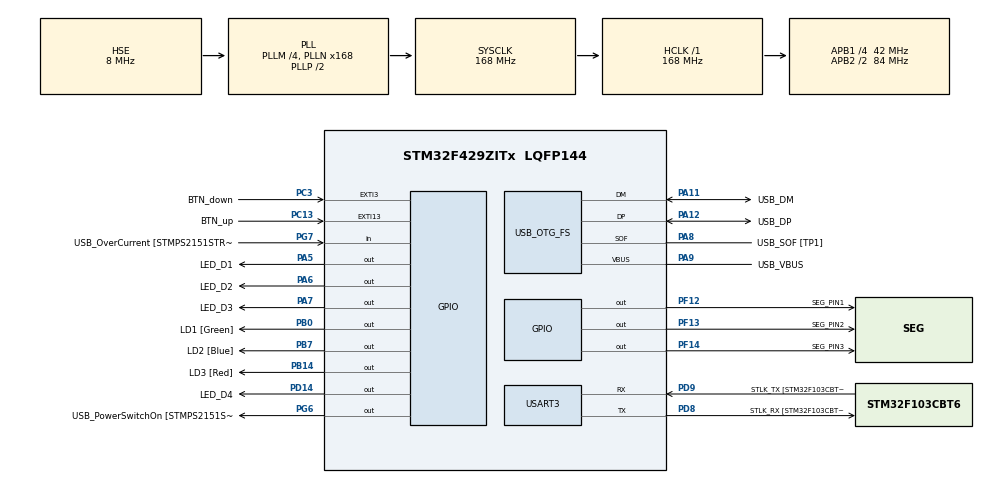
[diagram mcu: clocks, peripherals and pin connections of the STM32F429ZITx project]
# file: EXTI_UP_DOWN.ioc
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Mcu.Family=STM32F4
Mcu.Name=STM32F429ZITx
Mcu.Package=LQFP144
NVIC.EXTI15_10_IRQn=true\:0\:0\:false\:true\:true\:2\:true\:true\:true
NVIC.EXTI3_IRQn=true\:0\:0\:false\:true\:true\:1\:true\:true\:true
NVIC.PriorityGroup=NVIC_PRIORITYGROUP_4
NVIC.USART3_IRQn=true\:0\:0\:false\:true\:true\:3\:true\:true\:true
PA1.GPIO_Label=RMII_REF_CLK [LAN8742A-CZ-TR_REFCLK0]
PA1.Signal=ETH_REF_CLK
PA10.GPIO_Label=USB_ID
PA10.Signal=USB_OTG_FS_ID
PA11.GPIO_Label=USB_DM
PA11.Mode=Device_Only
PA11.Signal=USB_OTG_FS_DM
PA12.GPIO_Label=USB_DP
PA12.Mode=Device_Only
PA12.Signal=USB_OTG_FS_DP
PA13.GPIO_Label=TMS
PA13.Mode=Serial_Wire
PA13.Signal=SYS_JTMS-SWDIO
PA14.GPIO_Label=TCK
PA14.Mode=Serial_Wire
PA14.Signal=SYS_JTCK-SWCLK
PA2.GPIO_Label=RMII_MDIO [LAN8742A-CZ-TR_MDIO]
PA2.Signal=ETH_MDIO
PA5.GPIO_Label=LED_D1
PA5.Signal=GPIO_Output
PA6.GPIO_Label=LED_D2
PA6.Signal=GPIO_Output
PA7.GPIO_Label=LED_D3
PA7.Signal=GPIO_Output
PA8.GPIO_Label=USB_SOF [TP1]
PA8.Mode=Activate_SOF_FS
PA8.Signal=USB_OTG_FS_SOF
PA9.GPIO_Label=USB_VBUS
PA9.Mode=Activate_VBUS
PA9.Signal=USB_OTG_FS_VBUS
PB0.GPIO_Label=LD1 [Green]
PB0.Signal=GPIO_Output
PB13.GPIO_Label=RMII_TXD1 [LAN8742A-CZ-TR_TXD1]
PB13.Signal=ETH_TXD1
PB14.GPIO_Label=LD3 [Red]
PB14.Signal=GPIO_Output
PB7.GPIO_Label=LD2 [Blue]
PB7.Signal=GPIO_Output
PC1.GPIO_Label=RMII_MDC [LAN8742A-CZ-TR_MDC]
PC1.Signal=ETH_MDC
PC13.GPIO_Label=BTN_up
PC13.GPIO_ModeDefaultEXTI=GPIO_MODE_IT_RISING
PC13.GPIO_PuPd=GPIO_NOPULL
PC13.Signal=GPXTI13
PC14/OSC32_IN.Mode=LSE-External-Oscillator
PC14/OSC32_IN.Signal=RCC_OSC32_IN
PC15/OSC32_OUT.Mode=LSE-External-Oscillator
PC15/OSC32_OUT.Signal=RCC_OSC32_OUT
PC3.GPIO_Label=BTN_down
PC3.GPIO_ModeDefaultEXTI=GPIO_MODE_IT_RISING
PC3.GPIO_PuPd=GPIO_PULLUP
PC3.Signal=GPXTI3
PC4.GPIO_Label=RMII_RXD0 [LAN8742A-CZ-TR_RXD0]
PC4.Signal=ETH_RXD0
PC5.GPIO_Label=RMII_RXD1 [LAN8742A-CZ-TR_RXD1]
PC5.Signal=ETH_RXD1
PD14.GPIO_Label=LED_D4
PD14.Signal=GPIO_Output
PD8.GPIO_Label=STLK_RX [STM32F103CBT6_PA3]
PD8.Mode=Asynchronous
PD8.Signal=USART3_TX
PD9.GPIO_Label=STLK_TX [STM32F103CBT6_PA2]
PD9.Mode=Asynchronous
PD9.Signal=USART3_RX
PF12.GPIO_Label=SEG_PIN1
PF12.Signal=GPIO_Output
PF13.GPIO_Label=SEG_PIN2
PF13.Signal=GPIO_Output
PF14.GPIO_Label=SEG_PIN3
PF14.Signal=GPIO_Output
PG11.GPIO_Label=RMII_TX_EN [LAN8742A-CZ-TR_TXEN]
PG11.Signal=ETH_TX_EN
PG13.GPIO_Label=RMII_TXD0 [LAN8742A-CZ-TR_TXD0]
PG13.Signal=ETH_TXD0
PG6.GPIO_Label=USB_PowerSwitchOn [STMPS2151STR_EN]
PG6.Signal=GPIO_Output
PG7.GPIO_Label=USB_OverCurrent [STMPS2151STR_FAULT]
PG7.Signal=GPIO_Input
PH0/OSC_IN.GPIO_Label=MCO [STM32F103CBT6_PA8]
PH0/OSC_IN.Mode=HSE-External-Clock-Source
PH0/OSC_IN.Signal=RCC_OSC_IN
PH1/OSC_OUT.Mode=HSE-External-Clock-Source
PH1/OSC_OUT.Signal=RCC_OSC_OUT
ProjectManager.HeapSize=0x200
ProjectManager.StackSize=0x400
ProjectManager.TargetToolchain=STM32CubeIDE
RCC.48MHZClocksFreq_Value=48000000
RCC.AHBFreq_Value=168000000
RCC.APB1CLKDivider=RCC_HCLK_DIV4
RCC.APB1Freq_Value=42000000
RCC.APB1TimFreq_Value=84000000
RCC.APB2CLKDivider=RCC_HCLK_DIV2
RCC.APB2Freq_Value=84000000
RCC.APB2TimCLKDivider=2
RCC.APB2TimFreq_Value=168000000
RCC.CortexFreq_Value=168000000
RCC.HCLKFreq_Value=168000000
RCC.HSE_VALUE=8000000
RCC.HSI_VALUE=16000000
RCC.PLLM=4
RCC.PLLMUL=RCC_PLL_MUL9
RCC.PLLN=168
RCC.PLLQ=7
RCC.PRESCALERUSB=RCC_USBCLKSOURCE_PLL_DIV1_5
RCC.SYSCLKFreq_VALUE=168000000
RCC.SYSCLKSource=RCC_SYSCLKSOURCE_PLLCLK
RCC.SYSCLKSourceVirtual=RCC_SYSCLKSOURCE_PLLCLK
RCC.USBFreq_Value=48000000
RCC.VCOOutputFreq_Value=336000000
USART3.VirtualMode=VM_ASYNC
USB_OTG_FS.VirtualMode=Device_Only
board=NUCLEO-F429ZI

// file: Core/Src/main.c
/* USER CODE BEGIN Header */
#include "stm32f4xx_hal.h"
/**
  ******************************************************************************
  * @file           : main.c
  * @brief          : Main program body
  ******************************************************************************
  * @attention
  *
  * Copyright (c) 2023 STMicroelectronics.
  * All rights reserved.
  *
  * This software is licensed under terms that can be found in the LICENSE file
  * in the root directory of this software component.
  * If no LICENSE file comes with this software, it is provided AS-IS.
  *
  ******************************************************************************
  */
/* USER CODE END Header */
#include "main.h"
#include "usart.h"
#include "usb_otg.h"
#include "gpio.h"

/* USER CODE BEGIN Includes */
#include "stdio.h"
#include "string.h"
/* USER CODE END Includes */

/* USER CODE BEGIN PV */
int counter = 0;
/* USER CODE END PV */

void SystemClock_Config(void);
static void MX_NVIC_Init(void);
/* USER CODE BEGIN PFP */
void DisplayFND(uint8_t fnd, uint8_t location);
uint8_t ttl7447(uint8_t num);
void counter0to9999(uint8_t num[4], uint32_t tick);
/* USER CODE END PFP */

/* USER CODE BEGIN 0 */
int _write(int file, char *ptr, int len)
{
	HAL_UART_Transmit(&huart3, (uint8_t *)ptr, len, 500);
	return len;
}

int __io_putchar(int ch)
{
	HAL_UART_Transmit(&huart3, (uint8_t *)&ch, 1, 1000);
	return ch;
}
/* USER CODE END 0 */

int main(void)
{

  /* MCU Configuration--------------------------------------------------------*/

  /* Reset of all peripherals, Initializes the Flash interface and the Systick. */
  HAL_Init();

  /* Configure the system clock */
  SystemClock_Config();

  /* Initialize all configured peripherals */
  MX_GPIO_Init();
  MX_USART3_UART_Init();
  MX_USB_OTG_FS_PCD_Init();

  /* Initialize interrupts */
  MX_NVIC_Init();
  /* USER CODE BEGIN 2 */
  uint8_t count[4] = {0,};
  /* USER CODE END 2 */

  /* Infinite loop */
  /* USER CODE BEGIN WHILE */
  while (1)
  {
	  counter0to9999(count, counter);

	  DisplayFND(ttl7447(count[0]), 1);	// thousands
	  DisplayFND(ttl7447(count[1]), 2);	// hundreds
	  DisplayFND(ttl7447(count[2]), 3);	// tens
	  DisplayFND(ttl7447(count[3]), 4);	// ones

	  HAL_GPIO_WritePin(GPIOA, GPIO_PIN_5|GPIO_PIN_6|GPIO_PIN_7, 0);
	  HAL_GPIO_WritePin(GPIOD, GPIO_PIN_14, 0);
    /* USER CODE END WHILE */

  }
}

void SystemClock_Config(void)
{
  RCC_OscInitTypeDef RCC_OscInitStruct = {0};
  RCC_ClkInitTypeDef RCC_ClkInitStruct = {0};

  /** Configure the main internal regulator output voltage
  */
  __HAL_RCC_PWR_CLK_ENABLE();
  __HAL_PWR_VOLTAGESCALING_CONFIG(PWR_REGULATOR_VOLTAGE_SCALE1);

  /** Initializes the RCC Oscillators according to the specified parameters
  * in the RCC_OscInitTypeDef structure.
  */
  RCC_OscInitStruct.OscillatorType = RCC_OSCILLATORTYPE_HSE;
  RCC_OscInitStruct.HSEState = RCC_HSE_BYPASS;
  RCC_OscInitStruct.PLL.PLLState = RCC_PLL_ON;
  RCC_OscInitStruct.PLL.PLLSource = RCC_PLLSOURCE_HSE;
  RCC_OscInitStruct.PLL.PLLM = 4;
  RCC_OscInitStruct.PLL.PLLN = 168;
  RCC_OscInitStruct.PLL.PLLP = RCC_PLLP_DIV2;
  RCC_OscInitStruct.PLL.PLLQ = 7;
  if (HAL_RCC_OscConfig(&RCC_OscInitStruct) != HAL_OK)
  {
    Error_Handler();
  }

  /** Initializes the CPU, AHB and APB buses clocks
  */
  RCC_ClkInitStruct.ClockType = RCC_CLOCKTYPE_HCLK|RCC_CLOCKTYPE_SYSCLK
                              |RCC_CLOCKTYPE_PCLK1|RCC_CLOCKTYPE_PCLK2;
  RCC_ClkInitStruct.SYSCLKSource = RCC_SYSCLKSOURCE_PLLCLK;
  RCC_ClkInitStruct.AHBCLKDivider = RCC_SYSCLK_DIV1;
  RCC_ClkInitStruct.APB1CLKDivider = RCC_HCLK_DIV4;
  RCC_ClkInitStruct.APB2CLKDivider = RCC_HCLK_DIV2;

  if (HAL_RCC_ClockConfig(&RCC_ClkInitStruct, FLASH_LATENCY_5) != HAL_OK)
  {
    Error_Handler();
  }
}

/**
  * @brief NVIC Configuration.
  * @retval None
  */
static void MX_NVIC_Init(void)
{
  /* EXTI3_IRQn interrupt configuration */
  HAL_NVIC_SetPriority(EXTI3_IRQn, 0, 0);
  HAL_NVIC_EnableIRQ(EXTI3_IRQn);
  /* EXTI15_10_IRQn interrupt configuration */
  HAL_NVIC_SetPriority(EXTI15_10_IRQn, 0, 0);
  HAL_NVIC_EnableIRQ(EXTI15_10_IRQn);
  /* USART3_IRQn interrupt configuration */
  HAL_NVIC_SetPriority(USART3_IRQn, 0, 0);
  HAL_NVIC_EnableIRQ(USART3_IRQn);
}

/* USER CODE BEGIN 4 */
void HAL_GPIO_EXTI_Callback(uint16_t GPIO_Pin)
{
	static uint32_t before_tick = 0;

	if(GPIO_Pin == GPIO_PIN_13)
	{
		if (HAL_GetTick() - before_tick >= 300)
		{
			before_tick = HAL_GetTick();

			counter++;

			if (counter > 9999)
			{
				counter = 0;
			}

			printf("USART print 7segment number=%d\r\n", counter);
		}
	}
	else if (GPIO_Pin == GPIO_PIN_3)
	{
		if (HAL_GetTick() - before_tick >= 300)
		{
			before_tick = HAL_GetTick();

			counter--;

			if (counter < 0)
			{
				counter = 9999;
			}

			printf("USART print 7segment number=%d\r\n", counter);
		}
	}
}

uint8_t ttl7447(uint8_t num){
	// for anode type
	switch(num){
	case 0:
		return 0xc0;
	case 1:
		return 0xf9;
	case 2:
		return 0xa4;
	case 3:
		return 0xb0;
	case 4:
		return 0x99;
	case 5:
		return 0x92;
	case 6:
		return 0x82;
	case 7:
		return 0xd8;
	case 8:
		return 0x80;
	case 9:
		return 0x90;
	default:
		return 0xff;
	}
}

void DisplayFND(uint8_t fnd, uint8_t location){

	HAL_GPIO_WritePin(GPIOF, GPIO_PIN_14, 0);	// latch clock pin off

	uint16_t data = 0;
	data = fnd << 8;
	data |= 1 << (location-1);

	// for example, to display 1 to first FND
	// MSB 1111 1001 dddd 0001 LSB	(d means don't care)

	for(int i=0 ; i<16; i++){

		if(data >> (15-i) & 1){	// MSB first in
			HAL_GPIO_WritePin(GPIOF, GPIO_PIN_12, 1);	// Data line
		}else {
			HAL_GPIO_WritePin(GPIOF, GPIO_PIN_12, 0);	// Data line
		}

		HAL_GPIO_WritePin(GPIOF, GPIO_PIN_13, 1);	// shift clock pin on
		HAL_GPIO_WritePin(GPIOF, GPIO_PIN_13, 0);	// shift clock pin off
	}

	HAL_GPIO_WritePin(GPIOF, GPIO_PIN_14, 1);	// latch clock pin on
}

void counter0to9999(uint8_t num[4], uint32_t counter){
    num[0] = counter / 1000;
    num[1] = (counter / 100) % 10;
    num[2] = (counter / 10) % 10;
    num[3] = counter % 10;
}
/* USER CODE END 4 */

void Error_Handler(void)
{
  __disable_irq();
  while (1)
  {
  }
}
